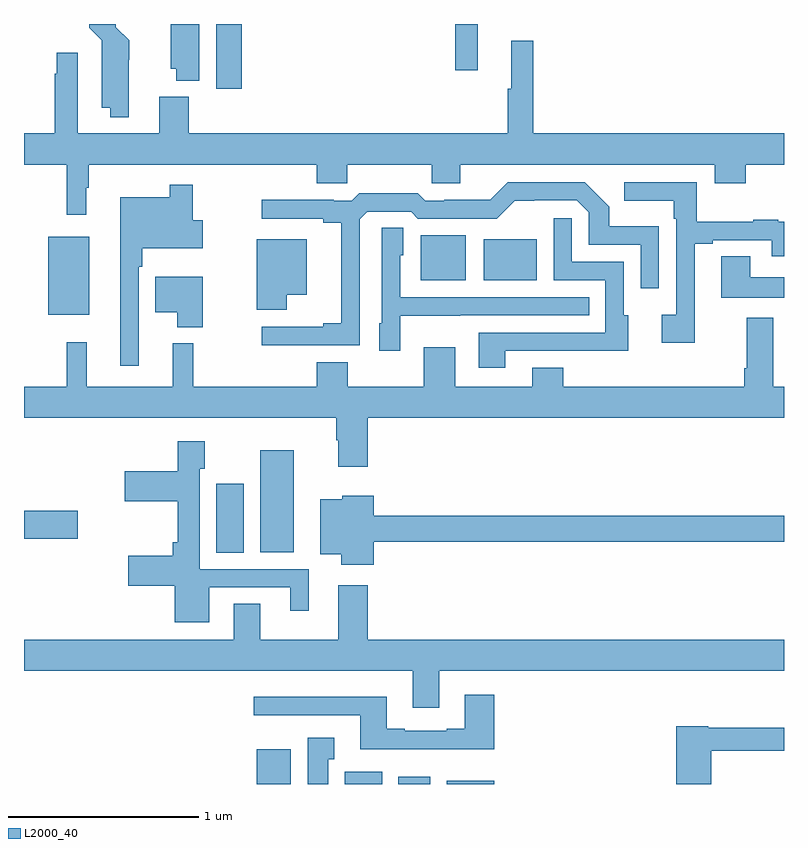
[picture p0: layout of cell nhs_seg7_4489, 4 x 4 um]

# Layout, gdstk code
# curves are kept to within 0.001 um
import gdstk
lib = gdstk.Library(unit=1e-6, precision=1e-09)
def R(c, l, rs):  # rectangles x0, y0, x1, y1
    for r in rs: c.add(gdstk.rectangle(r[:2], r[2:], *l))
def P(c, l, *ps):  # polygons
    for p in ps: c.add(gdstk.Polygon(p, *l))
L2000_40 = (2000, 40)

nhs_seg7_4489 = lib.new_cell('nhs_seg7_4489')
R(nhs_seg7_4489, L2000_40, [(394.226,1020,394.405,1020.184), (394.688,1020,394.885,1020.064), (394.97,1020,395.137,1020.037), (395.225,1020,395.476,1020.016), (394.013,1021.216,394.156,1021.579), (394.244,1021.22,394.42,1021.756), (393,1021.292,393.283,1021.439), (393.128,1022.471,393.343,1022.881), (395.087,1022.651,395.326,1022.887), (395.42,1022.651,395.698,1022.866), (394.013,1023.66,394.145,1024), (395.269,1023.756,395.387,1024)])
P(nhs_seg7_4489, L2000_40, [(393.922,1024),(393.773,1024),(393.773,1023.765),(393.8,1023.765),(393.8,1023.701),(393.922,1023.701)],
  [(393.552,1023.812),(393.553,1023.812),(393.553,1023.914),(393.483,1023.984),(393.483,1024),(393.343,1024),(393.343,1023.981),(393.41,1023.914),(393.41,1023.56),(393.455,1023.56),(393.455,1023.509),(393.552,1023.509)],
  [(393.328,1023.137),(393.34,1023.137),(393.34,1023.26),(394.541,1023.26),(394.541,1023.162),(394.701,1023.162),(394.701,1023.26),(395.146,1023.26),(395.146,1023.162),(395.296,1023.162),(395.296,1023.26),(396.635,1023.26),(396.635,1023.161),(396.799,1023.161),(396.799,1023.26),(397,1023.26),(397,1023.424),(395.681,1023.424),(395.681,1023.913),(395.564,1023.913),(395.564,1023.66),(395.545,1023.66),(395.545,1023.424),(393.866,1023.424),(393.866,1023.616),(393.713,1023.616),(393.713,1023.424),(393.283,1023.424),(393.283,1023.85),(393.173,1023.85),(393.173,1023.737),(393.161,1023.737),(393.161,1023.424),(393,1023.424),(393,1023.26),(393.226,1023.26),(393.226,1022.997),(393.328,1022.997)],
  [(394.767,1022.973),(394.806,1023.012),(395.037,1023.012),(395.073,1022.976),(395.487,1022.976),(395.582,1023.071),(395.91,1023.072),(395.973,1023.009),(395.973,1022.838),(396.246,1022.838),(396.246,1022.61),(396.342,1022.61),(396.342,1022.935),(396.081,1022.935),(396.081,1023.038),(395.95,1023.168),(395.547,1023.168),(395.453,1023.074),(395.212,1023.074),(395.212,1023.069),(395.112,1023.069),(395.073,1023.109),(394.765,1023.109),(394.725,1023.069),(394.631,1023.069),(394.631,1023.074),(394.251,1023.074),(394.251,1022.976),(394.574,1022.976),(394.574,1022.954),(394.67,1022.954),(394.67,1022.426),(394.574,1022.426),(394.574,1022.406),(394.251,1022.406),(394.251,1022.31),(394.767,1022.31)],
  [(396.529,1022.844),(396.625,1022.844),(396.625,1022.862),(396.935,1022.862),(396.935,1022.778),(397,1022.778),(397,1022.958),(396.971,1022.958),(396.971,1022.971),(396.839,1022.971),(396.839,1022.96),(396.541,1022.96),(396.541,1023.168),(396.159,1023.168),(396.159,1023.071),(396.42,1023.071),(396.42,1022.975),(396.432,1022.975),(396.432,1022.47),(396.357,1022.47),(396.357,1022.322),(396.529,1022.322)],
  [(393.603,1022.723),(393.623,1022.723),(393.623,1022.819),(393.94,1022.819),(393.94,1022.967),(393.889,1022.967),(393.889,1023.154),(393.768,1023.154),(393.768,1023.088),(393.506,1023.088),(393.506,1022.202),(393.603,1022.202)],
  [(395.533,1022.28),(395.963,1022.28),(395.963,1022.279),(396.181,1022.279),(396.181,1022.466),(396.156,1022.466),(396.156,1022.748),(395.883,1022.748),(395.883,1022.977),(395.787,1022.977),(395.787,1022.652),(396.06,1022.652),(396.06,1022.376),(395.393,1022.376),(395.393,1022.19),(395.533,1022.19)],
  [(394.98,1022.465),(395.297,1022.465),(395.297,1022.466),(395.975,1022.466),(395.975,1022.562),(394.98,1022.562),(394.98,1022.784),(394.996,1022.784),(394.996,1022.927),(394.884,1022.927),(394.884,1022.424),(394.871,1022.424),(394.871,1022.28),(394.98,1022.28)],
  [(394.384,1022.576),(394.489,1022.576),(394.489,1022.866),(394.226,1022.866),(394.226,1022.496),(394.384,1022.496)],
  [(397,1022.668),(396.823,1022.668),(396.823,1022.777),(396.671,1022.777),(396.671,1022.558),(397,1022.558)],
  [(393.94,1022.671),(393.692,1022.671),(393.692,1022.483),(393.806,1022.483),(393.806,1022.405),(393.94,1022.405)],
  [(394.808,1021.928),(397,1021.928),(397,1022.092),(396.943,1022.092),(396.943,1022.455),(396.803,1022.455),(396.803,1022.188),(396.791,1022.188),(396.791,1022.092),(395.839,1022.092),(395.839,1022.191),(395.675,1022.191),(395.675,1022.092),(395.269,1022.092),(395.269,1022.299),(395.105,1022.299),(395.105,1022.092),(394.705,1022.092),(394.705,1022.221),(394.541,1022.221),(394.541,1022.092),(393.892,1022.092),(393.892,1022.32),(393.782,1022.32),(393.782,1022.092),(393.329,1022.092),(393.329,1022.326),(393.226,1022.326),(393.226,1022.092),(393,1022.092),(393,1021.928),(394.643,1021.928),(394.643,1021.808),(394.655,1021.808),(394.655,1021.671),(394.808,1021.671)],
  [(393.976,1021.035),(394.4,1021.035),(394.4,1020.912),(394.498,1020.912),(394.498,1021.131),(393.924,1021.131),(393.924,1021.659),(393.951,1021.659),(393.951,1021.804),(393.808,1021.804),(393.808,1021.645),(393.531,1021.645),(393.531,1021.487),(393.808,1021.487),(393.808,1021.273),(393.782,1021.273),(393.782,1021.201),(393.549,1021.201),(393.549,1021.043),(393.794,1021.043),(393.794,1020.851),(393.976,1020.851)],
  [(394.841,1021.276),(397,1021.276),(397,1021.412),(394.841,1021.412),(394.841,1021.516),(394.674,1021.516),(394.674,1021.498),(394.559,1021.498),(394.559,1021.208),(394.67,1021.208),(394.67,1021.154),(394.841,1021.154)],
  [(395.185,1020.596),(397,1020.596),(397,1020.76),(394.808,1020.76),(394.808,1021.045),(394.655,1021.045),(394.655,1020.76),(394.243,1020.76),(394.243,1020.95),(394.103,1020.95),(394.103,1020.76),(393,1020.76),(393,1020.596),(395.045,1020.596),(395.045,1020.402),(395.185,1020.402)],
  [(395.474,1020.469),(395.321,1020.469),(395.321,1020.292),(395.225,1020.292),(395.225,1020.279),(395.005,1020.279),(395.005,1020.292),(394.909,1020.292),(394.909,1020.46),(394.209,1020.46),(394.209,1020.363),(394.769,1020.363),(394.769,1020.182),(395.474,1020.182)],
  [(396.617,1020.174),(397,1020.174),(397,1020.295),(396.6,1020.295),(396.6,1020.303),(396.434,1020.303),(396.434,1020),(396.617,1020)],
  [(394.6,1020.131),(394.633,1020.131),(394.633,1020.244),(394.493,1020.244),(394.493,1020),(394.6,1020)])

lib.write_gds('nhs_seg7_4489.gds')
